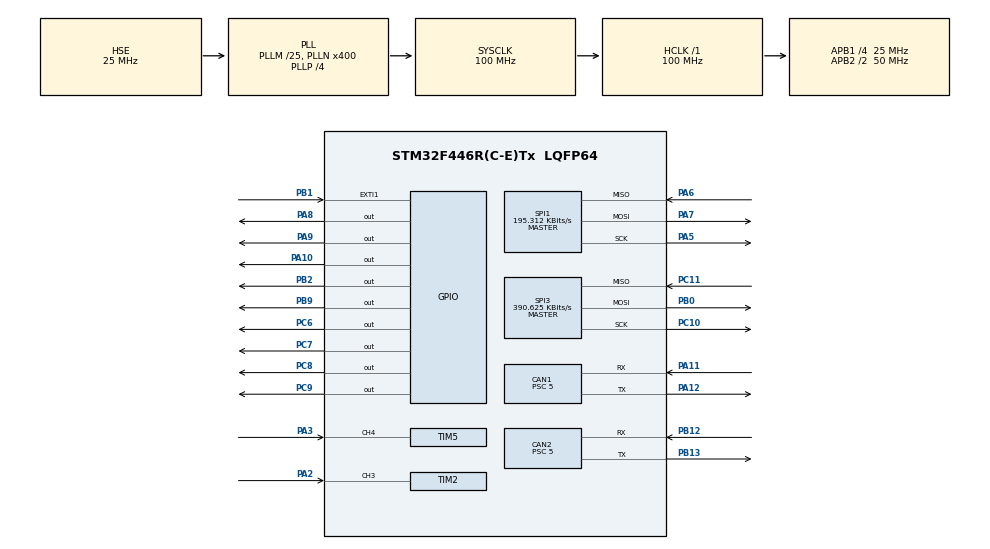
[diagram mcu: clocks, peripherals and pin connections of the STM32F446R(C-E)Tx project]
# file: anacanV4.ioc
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Mcu.Family=STM32F4
NVIC.CAN1_RX1_IRQn=true\:2\:0\:true\:false\:true\:true\:true
PA6.Mode=Full_Duplex_Master
PH0-OSC_IN.Signal=RCC_OSC_IN
RCC.CortexFreq_Value=100000000
SPI3.Direction=SPI_DIRECTION_2LINES
SPI3.VirtualType=VM_MASTER
NVIC.CAN2_RX0_IRQn=true\:2\:0\:true\:false\:true\:true\:true
SPI1.VirtualType=VM_MASTER
PC10.Signal=SPI3_SCK
PA11.Mode=Master
PB13.Signal=CAN2_TX
RCC.SYSCLKSource=RCC_SYSCLKSOURCE_PLLCLK
ProjectManager.StackSize=0x400
PA12.Signal=CAN1_TX
SPI3.CLKPolarity=SPI_POLARITY_HIGH
NVIC.TIM5_IRQn=true\:1\:0\:true\:false\:true\:true\:true
SPI1.Direction=SPI_DIRECTION_2LINES
RCC.HCLKFreq_Value=100000000
RCC.APB2TimFreq_Value=100000000
TIM2.Channel-Input_Capture3_from_TI3=TIM_CHANNEL_3
PC7.Signal=GPIO_Output
SPI1.CalculateBaudRate=195.312 KBits/s
RCC.AHBFreq_Value=100000000
PH0-OSC_IN.Mode=HSE-External-Oscillator
RCC.HSE_VALUE=25000000
PB2.Signal=GPIO_Output
PB3.Mode=JTAG_5_pins
TIM14.Period=65536 - 1
PA15.Mode=JTAG_5_pins
PB4.Mode=JTAG_5_pins
PA14.Mode=JTAG_5_pins
CAN2.Prescaler=5
NVIC.TIM2_IRQn=true\:1\:0\:true\:false\:true\:true\:true
SPI1.DataSize=SPI_DATASIZE_16BIT
PA8.Signal=GPIO_Output
TIM4.Period=99
RCC.FLatency-AdvancedSettings=FLASH_LATENCY_3
PH1-OSC_OUT.Mode=HSE-External-Oscillator
CAN1.Prescaler=5
Mcu.Package=LQFP64
PB9.Signal=GPIO_Output
TIM2.Prescaler=9
PA6.Signal=SPI1_MISO
PB1.Signal=GPXTI1
PB12.Mode=Slave
CAN2.BS1=CAN_BS1_5TQ
CAN2.BS2=CAN_BS2_4TQ
SPI3.Mode=SPI_MODE_MASTER
PA10.Signal=GPIO_Output
PA15.Signal=SYS_JTDI
PC11.Mode=Full_Duplex_Master
RCC.APB2CLKDivider=RCC_HCLK_DIV2
RCC.APB1TimFreq_Value=50000000
PB13.Mode=Slave
VP_TIM14_VS_ClockSourceINT.Mode=Enable_Timer
SPI1.BaudRatePrescaler=SPI_BAUDRATEPRESCALER_256
PB4.Signal=SYS_JTRST
PA3.Signal=S_TIM5_CH4
CAN1.CalculateTimeQuantum=200.0
PA5.Mode=Full_Duplex_Master
RCC.PLLSourceVirtual=RCC_PLLSOURCE_HSE
PA7.Mode=Full_Duplex_Master
TIM5.Channel-Input_Capture4_from_TI4=TIM_CHANNEL_4
PC11.Signal=SPI3_MISO
PC8.Signal=GPIO_Output
PC6.Signal=GPIO_Output
PC10.Mode=Full_Duplex_Master
RCC.APB1CLKDivider=RCC_HCLK_DIV4
NVIC.CAN2_RX1_IRQn=true\:2\:0\:true\:false\:true\:true\:true
PA13.Signal=SYS_JTMS-SWDIO
CAN1.BS2=CAN_BS2_4TQ
CAN1.BS1=CAN_BS1_5TQ
ProjectManager.TargetToolchain=STM32CubeIDE
PA9.Signal=GPIO_Output
TIM2.ICFilter_CH3=15
RCC.USBFreq_Value=200000000
TIM4.Prescaler=249
RCC.LSE_VALUE=32768
CAN1.ABOM=ENABLE
PA5.Signal=SPI1_SCK
PB0.Mode=Full_Duplex_Master
board=NUCLEO-F446RE
SPI3.CLKPhase=SPI_PHASE_2EDGE
RCC.VCOOutputFreq_Value=400000000
RCC.APB2Freq_Value=50000000
SPI3.CalculateBaudRate=390.625 KBits/s
SH.S_TIM2_CH3.0=TIM2_CH3,Input_Capture3_from_TI3
SPI1.Mode=SPI_MODE_MASTER
SPI3.BaudRatePrescaler=SPI_BAUDRATEPRESCALER_64
CAN2.CalculateTimeQuantum=200.0
PH1-OSC_OUT.Signal=RCC_OSC_OUT
CAN2.ABOM=ENABLE
SH.S_TIM5_CH4.0=TIM5_CH4,Input_Capture4_from_TI4
TIM2.Period=0x4C4B40
PA13.Mode=JTAG_5_pins
Mcu.Name=STM32F446R(C-E)Tx
TIM14.Prescaler=5000 - 1
PA2.Signal=S_TIM2_CH3
PB3.Signal=SYS_JTDO-SWO
RCC.SYSCLKFreq_VALUE=100000000
PA12.Mode=Master
TIM5.Prescaler=9
PA11.Signal=CAN1_RX
PA14.Signal=SYS_JTCK-SWCLK
ProjectManager.HeapSize=0x200
RCC.HSI_VALUE=16000000
VP_TIM4_VS_ClockSourceINT.Mode=Internal
RCC.PLLP=RCC_PLLP_DIV4
NVIC.PriorityGroup=NVIC_PRIORITYGROUP_4
RCC.PLLM=25
RCC.PLLN=400
TIM5.Period=0x4C4B40
PC9.Signal=GPIO_Output
NVIC.TIM4_IRQn=true\:2\:0\:true\:false\:true\:true\:true
RCC.APB1Freq_Value=25000000
PB0.Signal=SPI3_MOSI
PB12.Signal=CAN2_RX
NVIC.CAN1_RX0_IRQn=true\:2\:0\:true\:false\:true\:true\:true
PA7.Signal=SPI1_MOSI

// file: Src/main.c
/**
  ******************************************************************************
  * @file           : main.c
  * @brief          : Main program body
  ******************************************************************************
  ** This notice applies to any and all portions of this file
  * that are not between comment pairs USER CODE BEGIN and
  * USER CODE END. Other portions of this file, whether
  * inserted by the user or by software development tools
  * are owned by their respective copyright owners.
  *
  * COPYRIGHT(c) 2021 STMicroelectronics
  *
  * Redistribution and use in source and binary forms, with or without modification,
  * are permitted provided that the following conditions are met:
  *   1. Redistributions of source code must retain the above copyright notice,
  *      this list of conditions and the following disclaimer.
  *   2. Redistributions in binary form must reproduce the above copyright notice,
  *      this list of conditions and the following disclaimer in the documentation
  *      and/or other materials provided with the distribution.
  *   3. Neither the name of STMicroelectronics nor the names of its contributors
  *      may be used to endorse or promote products derived from this software
  *      without specific prior written permission.
  *
  * THIS SOFTWARE IS PROVIDED BY THE COPYRIGHT HOLDERS AND CONTRIBUTORS "AS IS"
  * AND ANY EXPRESS OR IMPLIED WARRANTIES, INCLUDING, BUT NOT LIMITED TO, THE
  * IMPLIED WARRANTIES OF MERCHANTABILITY AND FITNESS FOR A PARTICULAR PURPOSE ARE
  * DISCLAIMED. IN NO EVENT SHALL THE COPYRIGHT HOLDER OR CONTRIBUTORS BE LIABLE
  * FOR ANY DIRECT, INDIRECT, INCIDENTAL, SPECIAL, EXEMPLARY, OR CONSEQUENTIAL
  * DAMAGES (INCLUDING, BUT NOT LIMITED TO, PROCUREMENT OF SUBSTITUTE GOODS OR
  * SERVICES; LOSS OF USE, DATA, OR PROFITS; OR BUSINESS INTERRUPTION) HOWEVER
  * CAUSED AND ON ANY THEORY OF LIABILITY, WHETHER IN CONTRACT, STRICT LIABILITY,
  * OR TORT (INCLUDING NEGLIGENCE OR OTHERWISE) ARISING IN ANY WAY OUT OF THE USE
  * OF THIS SOFTWARE, EVEN IF ADVISED OF THE POSSIBILITY OF SUCH DAMAGE.
  *
  ******************************************************************************
  * 06/2021
  * Firmware written by:
  * Michael Park
  * Isaac Remy
  * James Edwards
  *
  */
#include "main.h"
#include "stm32f4xx_hal.h"
#include "can.h"
#include "spi.h"
#include "tim.h"
#include "gpio.h"

/* USER CODE BEGIN Includes */

#include "filter.h"

/* USER CODE END Includes */

/* USER CODE BEGIN PV */

/* Private variables ---------------------------------------------------------*/
static uint16_t CONFIG_COMMAND = 0x15; // will need to be array (for multi-channel reading)
static uint32_t FILTER_COMMAND = 0x784;
static uint16_t VBIAS_COMMAND = 0x00; // will need to be array (for multi-channel reading)
static uint16_t ADC_CONTROL_COMMAND = 0x100;
static const float AN_TIMER_PERIOD = AN_PRESCALER * 1.0F /AN_CLK_FREQUENCY;
static const uint32_t AN_ZERO_SPEED = 0x4C4B40;
volatile uint32_t rearCnt = 0;
static int count=0;

/* USER CODE END PV */

void SystemClock_Config(void);

/* USER CODE BEGIN PFP */
/* Private function prototypes -----------------------------------------------*/

/* USER CODE END PFP */

/* USER CODE BEGIN 0 */

/**
 * The following code initializes the variables used in wheel speed calculations.
 */
#if AN_DEBUG_MODE
static uint32_t AN_counterArrayL[100] = {0};
static uint32_t AN_counterArrayR[100] = {0};
volatile static float AN_speedArrayL[100] = {0};
volatile static float AN_speedArrayR[100] = {0};
static int i=0;
static int j=0;

#endif
volatile static float AN_speedL=0.0F;
volatile static float AN_speedR=0.0F;
volatile static uint32_t AN_counterL=0;
volatile static uint32_t AN_counterR=0;
volatile static uint16_t AN_speedLCoded=0;
volatile static uint16_t AN_speedRCoded=0;

LPFilter AN_rearFilter = {.samplingTime = AN_SPEED_PERIOD, .freq = 200 * 2 * AN_PI,
		.a = 0.9, .prevInput = 0
};

LPFilter AN_frontFilter = {.samplingTime = AN_SPEED_PERIOD, .freq = 200 * 2 * AN_PI,
		.a = 0.9, .prevInput = 0
};
static bool AN_shouldExecuteSM = false;
int AN_counter;

/* USER CODE END 0 */

int main(void)
{
  /* USER CODE BEGIN 1 */

  /*
   * Sets the initial state of AnaCAN to NOMINAL (the default if nothing is malfunctioning).
   */
  AN.state = NOMINAL;

  /* USER CODE END 1 */

  /* MCU Configuration----------------------------------------------------------*/

  /* Reset of all peripherals, Initializes the Flash interface and the Systick. */
  HAL_Init();

  /* Configure the system clock */
  SystemClock_Config();

  /* Initialize all configured peripherals */
  MX_GPIO_Init();
  MX_CAN1_Init();
  MX_CAN2_Init();
  MX_SPI1_Init();
  MX_SPI3_Init();
  MX_TIM2_Init();
  MX_TIM5_Init();
  MX_TIM4_Init();
  MX_TIM14_Init();
  MX_SPI3_Init();
  /* USER CODE BEGIN 2 */

  /**
   * Activates peripheral timers and CAN for the strain gauge.
   */
  AN_peripheralStartup();
  HAL_GPIO_WritePin(GPIOA, GPIO_PIN_10, GPIO_PIN_SET);
  HAL_GPIO_WritePin(GPIOB, GPIO_PIN_2, GPIO_PIN_SET);
  HAL_CAN_Start(&hcan1);
  SPI_commRegisterTrue(); // verifies SPI lines are functioning
  SPI_write16(0x01, ADC_CONTROL_COMMAND); // ADC_Control_Register
  SPI_write16(0x09, 0x00); // Writes to differential channel 0
  SPI_write16(0x19, CONFIG_COMMAND); // Configures ADC gain
  SPI_write24(0x21, FILTER_COMMAND); // Sets filter and output data rate
  SPI_write16(0x04, VBIAS_COMMAND); // Sets voltage bias
  SPI_write16(0x09, 0x8001); // Enables differential channel 0

  /* USER CODE END 2 */

  /* Infinite loop */
  while (1)
  {

  /* USER CODE BEGIN 3 */

  /**
   * The main loop is an infinite loop that is constantly running.
   * Main Loop:
   * Timer4 sets AN_shouldExecuteSM to true when its period elapses (see HAL_TIM_PeriodElapsedCallback).
   * When set to true, AN_executeState() is called which executes the desired function depending on the
   * state of AnaCAN. Afterwards, AN_shouldExecuteSM is set to false again.
   */
    if (AN_shouldExecuteSM){
      AN_executeState();
      AN_shouldExecuteSM = false;
	  }
  }
  /* USER CODE END 3 */

}

void SystemClock_Config(void)
{

  RCC_OscInitTypeDef RCC_OscInitStruct;
  RCC_ClkInitTypeDef RCC_ClkInitStruct;

    /**Configure the main internal regulator output voltage
    */
  __HAL_RCC_PWR_CLK_ENABLE();

  __HAL_PWR_VOLTAGESCALING_CONFIG(PWR_REGULATOR_VOLTAGE_SCALE3);

    /**Initializes the CPU, AHB and APB busses clocks
    */
  RCC_OscInitStruct.OscillatorType = RCC_OSCILLATORTYPE_LSI|RCC_OSCILLATORTYPE_HSE;
  RCC_OscInitStruct.HSEState = RCC_HSE_ON;
  RCC_OscInitStruct.LSIState = RCC_LSI_ON;
  RCC_OscInitStruct.PLL.PLLState = RCC_PLL_ON;
  RCC_OscInitStruct.PLL.PLLSource = RCC_PLLSOURCE_HSE;
  RCC_OscInitStruct.PLL.PLLM = 25;
  RCC_OscInitStruct.PLL.PLLN = 400;
  RCC_OscInitStruct.PLL.PLLP = RCC_PLLP_DIV4;
  RCC_OscInitStruct.PLL.PLLQ = 2;
  RCC_OscInitStruct.PLL.PLLR = 2;
  if (HAL_RCC_OscConfig(&RCC_OscInitStruct) != HAL_OK)
  {
    _Error_Handler(__FILE__, __LINE__);
  }

    /**Initializes the CPU, AHB and APB busses clocks
    */
  RCC_ClkInitStruct.ClockType = RCC_CLOCKTYPE_HCLK|RCC_CLOCKTYPE_SYSCLK
                              |RCC_CLOCKTYPE_PCLK1|RCC_CLOCKTYPE_PCLK2;
  RCC_ClkInitStruct.SYSCLKSource = RCC_SYSCLKSOURCE_PLLCLK;
  RCC_ClkInitStruct.AHBCLKDivider = RCC_SYSCLK_DIV1;
  RCC_ClkInitStruct.APB1CLKDivider = RCC_HCLK_DIV4;
  RCC_ClkInitStruct.APB2CLKDivider = RCC_HCLK_DIV2;

  if (HAL_RCC_ClockConfig(&RCC_ClkInitStruct, FLASH_LATENCY_3) != HAL_OK)
  {
    _Error_Handler(__FILE__, __LINE__);
  }

    /**Configure the Systick interrupt time
    */
  HAL_SYSTICK_Config(HAL_RCC_GetHCLKFreq()/1000);

    /**Configure the Systick
    */
  HAL_SYSTICK_CLKSourceConfig(SYSTICK_CLKSOURCE_HCLK);

  /* SysTick_IRQn interrupt configuration */
  HAL_NVIC_SetPriority(SysTick_IRQn, 0, 0);
}

/* USER CODE BEGIN 4 */
void AN_peripheralStartup(){
/**
 * This function configures all CAN busses and timers.
 */
  HAL_CAN_Start(&hcan1);
  HAL_CAN_Start(&hcan2);
  HAL_CAN_ActivateNotification(&hcan1, CAN_IT_RX_FIFO0_MSG_PENDING);
  HAL_CAN_ActivateNotification(&hcan1, CAN_IT_RX_FIFO0_FULL);
  HAL_CAN_ActivateNotification(&hcan1, CAN_IT_RX_FIFO1_MSG_PENDING);
  HAL_CAN_ActivateNotification(&hcan1, CAN_IT_RX_FIFO1_FULL);

  HAL_CAN_ActivateNotification(&hcan2, CAN_IT_RX_FIFO0_MSG_PENDING);
  HAL_CAN_ActivateNotification(&hcan2, CAN_IT_RX_FIFO0_FULL);
  HAL_CAN_ActivateNotification(&hcan2, CAN_IT_RX_FIFO1_MSG_PENDING);
  HAL_CAN_ActivateNotification(&hcan2, CAN_IT_RX_FIFO1_FULL);

  HAL_TIM_Base_Start_IT(&htim4);
  HAL_GPIO_WritePin(GPIOA, GPIO_PIN_4, GPIO_PIN_SET);
  HAL_TIM_IC_Start_IT(&htim5, TIM_CHANNEL_4);
  HAL_TIM_IC_Start_IT(&htim2, TIM_CHANNEL_3);
  HAL_TIM_Base_Start_IT(&htim2);
  HAL_TIM_Base_Start_IT(&htim5);
}
/**
 * This function takes two 8-bit integer arrays and calculates wheel speed
 * from counter ticks and wheel slits. The calculated wheel speeds for the left
 * and the right side are then added to the arrays.
 *
 * Wheel speed is calculated using a hall effect (HE) sensor. The HE sensor emits a signal when
 * a ferrous object (object containing iron) is passed in front of it. On the FSAE car, the HE sensor is slotted
 * near the wheel and detects ferrous 'slits' that are evenly spaced around the wheel. When one slit passes the HE sensor,
 * a timer starts and stops the next time a slit passes the HE sensor. The time elapsed between slits combined with the
 * circumference of the wheel can be used to calculate wheel speed. The formula for wheel speed can be found by shift clicking
 * the AN_SPEED_CONVERSION_MS() function.
 */
void static AN_wheelConversion(uint8_t* dataTx1, uint8_t* dataTx2){
#if AN_DEBUG_MODE
  if(AN_counterArrayL[j]==AN_ZERO_SPEED){
    AN_speedArrayL[j]=0;
  }else{
#if FRONT
    AN_speedArrayL[j-1] = AN_SPEED_CONVERSION_MS(AN_counterArrayL[j], FRONT_WHEEL_SLITS);
#else
    AN_speedArrayL[j-1] = AN_SPEED_CONVERSION_MS(AN_counterArrayL[j], REAR_WHEEL_SLITS);
#endif
  }
  if(AN_counterArrayR[i]==AN_ZERO_SPEED){
    AN_speedArrayR[i]=0;
  }else{
#if FRONT
    AN_speedArrayR[i-1] = AN_SPEED_CONVERSION_MS(AN_counterArrayR[i], FRONT_WHEEL_SLITS);
#else
    AN_speedArrayR[i-1] = AN_SPEED_CONVERSION_MS(AN_counterArrayR[i], REAR_WHEEL_SLITS);
#endif
  }
  AN_speedL = AN_speedArrayL[j];
  AN_speedR = AN_speedArrayR[i];
#else
  if(AN_counterL==AN_ZERO_SPEED){
    AN_speedL=0;
  }else{
#if FRONT
    AN_speedL = AN_SPEED_CONVERSION_MS((AN_counterL+9), FRONT_WHEEL_SLITS);
#else
    AN_speedL = AN_SPEED_CONVERSION_MS((AN_counterL+9), REAR_WHEEL_SLITS);
#endif
  }
  if(AN_counterR==AN_ZERO_SPEED){
    AN_speedR=0;
  }else{
#if FRONT
    AN_speedR = AN_SPEED_CONVERSION_MS((AN_counterR+9), FRONT_WHEEL_SLITS);
#else
    AN_speedR = AN_SPEED_CONVERSION_MS((AN_counterR+9), REAR_WHEEL_SLITS);
#endif
  }
#endif

/*
 * If else check in the case that any of the wheels rotate >40m/s
 */
if(AN_speedL > 40.0){
  AN_speedL=40;
}else if(AN_speedR>40.0){
  AN_speedR=40;
}
  AN_speedLCoded=(AN_speedL*0xFFFF)/40;
  AN_speedRCoded=(AN_speedR*0xFFFF)/40;
  *dataTx1=AN_speedRCoded>>8;
  *(dataTx1+1)=AN_speedRCoded&0xFF;
  *dataTx2=AN_speedLCoded>>8;
  *(dataTx2+1)=AN_speedLCoded&0xFF;
}

/**
 * This function performs the default operation of AnaCAN: Perform SPI for left and and right sides to
 * get sensor data. Calls AN_wheelConversion to calculate wheel speed. Formats all data for CAN transmission.
 * If no errors in transmission, sets the state of AnaCAN to NOMINAL and SOMETINGWONG otherwise.
 */
static anacan_state AN_nominalState(){
  uint8_t dataTxRFast[8] ={0};
  uint8_t dataTxLFast[8] ={0};
  uint8_t dataTxRSlow[8] ={0};
  uint8_t dataTxLSlow[8] ={0};
  uint8_t sentSGData[3] = {0};
  SPI_rFastPrepare(dataTxRFast);
  SPI_lFastPrepare(dataTxLFast);
  AN_wheelConversion(dataTxRFast, dataTxLFast);
  uint32_t strainGaugeData = SPI_dataRead(0x42, 32);
  sentSGData[0] = strainGaugeData & 0xFF0000;
  sentSGData[1] = strainGaugeData & 0x00FF00;
  sentSGData[2] = strainGaugeData & 0x00FF00;

  /**
   * This if statement ensures that the 'Slow Prepare' SPI functions are called once every 100 calls of the
   * AN_nominalState() function.
   */
  if(count==99){
    count = -1;
    SPI_rSlowPrepare(dataTxRSlow);
    SPI_lSlowPrepare(dataTxLSlow);
  }
  //uint32_t tireTempLeft =
  //uint32_t tireTempRight =
  CAN_transmit(dataTxRFast, dataTxLFast, dataTxRSlow, dataTxLSlow, sentSGData);
  count++;
  AN_counter++;
  if(AN_counter%1000==0){
    CAN_updateStatus();
  }
  if(AN.errorBits.can1Fail||AN.errorBits.can2Fail||AN.errorBits.spiFail){
    return SOMETINGWONG;
  }
  else{
    return NOMINAL;
  }
}

/**
 * This function is called when AnaCAN is in the SOMETINGWONG state. This only occurs
 * when one of the critical peripherals malfunctions. Proceeds to try and re-initialize
 * the peripheral that malfunctioned and sets AnaCAN state afterwards. If successful in
 * re-initialization, AnaCAN state is set to NOMINAL and SOMETINGWONG otherwise.
 */
static anacan_state AN_sometingWongState(){
  if(AN.errorBits.can1Fail){
    MX_CAN1_Init();
    HAL_CAN_Start(&hcan1);
    AN.errorBits.can1Fail=false;
  } else if(AN.errorBits.can2Fail){
    MX_CAN2_Init();
    HAL_CAN_Start(&hcan2);
    AN.errorBits.can2Fail=false;
  } else if(AN.errorBits.spiFail){
    MX_SPI1_Init();
    AN.errorBits.spiFail=false;
  }
  if(AN.errorBits.can1Fail||AN.errorBits.can2Fail||AN.errorBits.spiFail){
    return SOMETINGWONG;
  } else{
    return NOMINAL;
  }
}

/**
 * This function calls the corresponding function depending on the state of AnaCAN. If the state
 * is NOMINAL, this function calls AN_nominalState. If state is SOMETINGWONG, this function calls
 * AN_sometingWongState.
 */
void AN_executeState(){
  static const struct{
    anacan_state (*process)();
  } states[NUM_STATES] =
  {
    [NOMINAL] = {&AN_nominalState},
    [SOMETINGWONG] = {&AN_sometingWongState}
  };
  AN.state = (states[AN.state].process());
}

void HAL_TIM_PeriodElapsedCallback (TIM_HandleTypeDef *htim) {
  uint32_t filteredRearCnt = 0;
  uint32_t filteredFrontCnt = 0;
  if (htim == &htim4){
    AN_shouldExecuteSM = true;
    filteredRearCnt = LP_Filter(&AN_rearFilter, AN_counterR, rearCnt*AN_TIMER_PERIOD);
    filteredFrontCnt = LP_Filter(&AN_frontFilter, AN_counterL, rearCnt*AN_TIMER_PERIOD);
  }
#if AN_DEBUG_MODE
  else if (htim == &htim2)
  {
    AN_counterArrayL[j] = AN_ZERO_SPEED;
    j++;
    if (j>=100){
      j=0;
    }
  }
  else if (htim == &htim5)
  {
    AN_counterArrayR[i] = AN_ZERO_SPEED;
    i++;
    if (i>=100){
      i=0;
    }
  }

#else
  else if (htim == &htim2)
  {
  	AN_counterL = AN_ZERO_SPEED;
  }
  else if (htim == &htim5)
  {
  	AN_counterR = AN_ZERO_SPEED;
  }
#endif
}

void HAL_TIM_IC_CaptureCallback (TIM_HandleTypeDef *htim) {
	if (htim == &htim5){
#if AN_DEBUG_MODE
	AN_counterArrayR[i++]=__HAL_TIM_GET_COMPARE(&htim5, TIM_CHANNEL_4);
	if (i>=100){
		i=0;
	}
#else
	AN_counterR=__HAL_TIM_GET_COMPARE(&htim5, TIM_CHANNEL_4);
#endif
	__HAL_TIM_SET_COUNTER(&htim5, 0);
	}
	if (htim == &htim2){	//Front wheel
#if AN_DEBUG_MODE
	AN_counterArrayL[j++]=__HAL_TIM_GET_COMPARE(&htim2, TIM_CHANNEL_3);
	__HAL_TIM_SET_COUNTER(&htim2, 0);
	if (j>=100){
		j=0;
	}
#else
	AN_counterL=__HAL_TIM_GET_COMPARE(&htim2, TIM_CHANNEL_3);
#endif
	__HAL_TIM_SET_COUNTER(&htim2, 0);
	}
}

/* USER CODE END 4 */

void _Error_Handler(char *file, int line)
{
  while(1)
  {
  }
}

/************************ (C) COPYRIGHT STMicroelectronics *****END OF FILE****/
